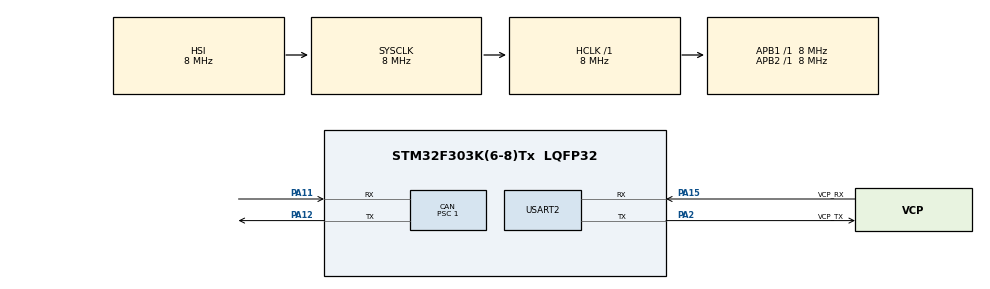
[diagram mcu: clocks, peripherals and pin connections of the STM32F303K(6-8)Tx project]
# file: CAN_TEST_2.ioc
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CAN.BS1=CAN_BS1_6TQ
CAN.CalculateBaudRate=1000000
CAN.CalculateTimeBit=1000
CAN.CalculateTimeQuantum=125.0
CAN.Prescaler=1
Mcu.Family=STM32F3
Mcu.Name=STM32F303K(6-8)Tx
Mcu.Package=LQFP32
NVIC.CAN_RX0_IRQn=true\:0\:0\:false\:false\:true\:true\:true\:true
NVIC.PriorityGroup=NVIC_PRIORITYGROUP_4
PA11.Mode=CAN_Activate
PA11.Signal=CAN_RX
PA12.Mode=CAN_Activate
PA12.Signal=CAN_TX
PA13.GPIO_Label=SWDIO
PA13.Mode=Serial_Wire
PA13.Signal=SYS_JTMS-SWDIO
PA14.GPIO_Label=SWCLK
PA14.Mode=Serial_Wire
PA14.Signal=SYS_JTCK-SWCLK
PA15.GPIO_Label=VCP_RX
PA15.Mode=Asynchronous
PA15.Signal=USART2_RX
PA2.GPIO_Label=VCP_TX
PA2.Mode=Asynchronous
PA2.Signal=USART2_TX
PF0\ /\ OSC_IN.GPIO_Label=MCO
PF0\ /\ OSC_IN.Mode=HSE-External-Clock-Source
PF0\ /\ OSC_IN.Signal=RCC_OSC_IN
ProjectManager.HeapSize=0x200
ProjectManager.StackSize=0x400
ProjectManager.TargetToolchain=STM32CubeIDE
RCC.AHBFreq_Value=8000000
RCC.APB1Freq_Value=8000000
RCC.APB2Freq_Value=8000000
RCC.CortexFreq_Value=8000000
RCC.HSE_VALUE=8000000
RCC.HSI_VALUE=8000000
RCC.SYSCLKFreq_VALUE=8000000
USART2.VirtualMode-Asynchronous=VM_ASYNC
board=NUCLEO-F303K8

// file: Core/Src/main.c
#include "main.h"
#include <stdio.h>

CAN_HandleTypeDef hcan;

UART_HandleTypeDef huart2;

void SystemClock_Config(void);
static void MX_GPIO_Init(void);
static void MX_USART2_UART_Init(void);
static void MX_CAN_Init(void);

/* USER CODE BEGIN 0 */
uint8_t use_data[8];
uint32_t id;
int i = 0;
void CAN_TX(uint32_t recipient) {
    //送信用インスタンス等
	CAN_TxHeaderTypeDef TxHeader;
	uint32_t TxMailbox;
	uint8_t TxData[8];
    //送信メールボックスに空きがあったら送信開始
	if (0 < HAL_CAN_GetTxMailboxesFreeLevel(&hcan)) {
        //送信用インスタンスの設定
		TxHeader.StdId = recipient;// 受取手のCANのID
		TxHeader.RTR = CAN_RTR_DATA;
		TxHeader.IDE = CAN_ID_STD;
		TxHeader.DLC = 8;//データ長を8byteに設定
		TxHeader.TransmitGlobalTime = DISABLE;
        //各データ
		TxData[0] = 0;
		TxData[1] = 1;
		TxData[2] = 2;
		TxData[3] = 3;
		TxData[4] = 4;
		TxData[5] = 5;
		TxData[6] = 6;
		if(i == 10){
			i=0;
		}
		TxData[7] = i;
        //CANメッセージを送信
		if (HAL_CAN_AddTxMessage(&hcan, &TxHeader, TxData, &TxMailbox) != HAL_OK) {
			Error_Handler();
		}
		i++;
	}
}

void HAL_CAN_RxFifo0MsgPendingCallback(CAN_HandleTypeDef *hcan) {
	CAN_RxHeaderTypeDef RxHeader;//受信メッセージの情報が格納されるインスタンス
	uint8_t RxData[8];//受信したデータを一時保存する配列
	if (HAL_CAN_GetRxMessage(hcan, CAN_RX_FIFO0, &RxHeader, RxData)== HAL_OK) {
		id = RxHeader.StdId; // RxHeaderの中に入っているidを取り出す
		if (id == 0x001){
			for (int i = 0; i <= 7; i++){
    				use_data[i] = RxData[i];
			}
		}
	}
}

int _write(int file, char *ptr, int len)
{
  HAL_UART_Transmit(&huart2,(uint8_t *)ptr,len,10);
  return len;
}

/* USER CODE END 0 */

int main(void)
{

  /* USER CODE BEGIN 1 */
	setbuf(stdout, NULL);

  /* USER CODE END 1 */

  /* MCU Configuration--------------------------------------------------------*/

  /* Reset of all peripherals, Initializes the Flash interface and the Systick. */
  HAL_Init();

  /* Configure the system clock */
  SystemClock_Config();

  /* Initialize all configured peripherals */
  MX_GPIO_Init();
  MX_USART2_UART_Init();
  MX_CAN_Init();
	/* USER CODE BEGIN 2 */

	// CANスタート
	HAL_CAN_Start(&hcan);
	// 割り込み有効
	HAL_CAN_ActivateNotification(&hcan, CAN_IT_RX_FIFO0_MSG_PENDING);
	/* USER CODE END 2 */

  /* Infinite loop */
  while (1)
  {
	  CAN_TX(0x001);
      printf("Receiver\r\n");
      printf("%d\r\n", use_data[0]);
      printf("%d\r\n", use_data[1]);
      printf("%d\r\n", use_data[2]);
      printf("%d\r\n", use_data[3]);
      printf("%d\r\n", use_data[4]);
      printf("%d\r\n", use_data[5]);
      printf("%d\r\n", use_data[6]);
      printf("%d\r\n", use_data[7]);
      HAL_Delay(100);

  }
}

void SystemClock_Config(void)
{
  RCC_OscInitTypeDef RCC_OscInitStruct = {0};
  RCC_ClkInitTypeDef RCC_ClkInitStruct = {0};

  /** Initializes the RCC Oscillators according to the specified parameters
  * in the RCC_OscInitTypeDef structure.
  */
  RCC_OscInitStruct.OscillatorType = RCC_OSCILLATORTYPE_HSI;
  RCC_OscInitStruct.HSIState = RCC_HSI_ON;
  RCC_OscInitStruct.HSICalibrationValue = RCC_HSICALIBRATION_DEFAULT;
  RCC_OscInitStruct.PLL.PLLState = RCC_PLL_NONE;
  if (HAL_RCC_OscConfig(&RCC_OscInitStruct) != HAL_OK)
  {
    Error_Handler();
  }

  /** Initializes the CPU, AHB and APB buses clocks
  */
  RCC_ClkInitStruct.ClockType = RCC_CLOCKTYPE_HCLK|RCC_CLOCKTYPE_SYSCLK
                              |RCC_CLOCKTYPE_PCLK1|RCC_CLOCKTYPE_PCLK2;
  RCC_ClkInitStruct.SYSCLKSource = RCC_SYSCLKSOURCE_HSI;
  RCC_ClkInitStruct.AHBCLKDivider = RCC_SYSCLK_DIV1;
  RCC_ClkInitStruct.APB1CLKDivider = RCC_HCLK_DIV1;
  RCC_ClkInitStruct.APB2CLKDivider = RCC_HCLK_DIV1;

  if (HAL_RCC_ClockConfig(&RCC_ClkInitStruct, FLASH_LATENCY_0) != HAL_OK)
  {
    Error_Handler();
  }
}

static void MX_CAN_Init(void)
{

  hcan.Instance = CAN;
  hcan.Init.Prescaler = 1;
  hcan.Init.Mode = CAN_MODE_NORMAL;
  hcan.Init.SyncJumpWidth = CAN_SJW_1TQ;
  hcan.Init.TimeSeg1 = CAN_BS1_6TQ;
  hcan.Init.TimeSeg2 = CAN_BS2_1TQ;
  hcan.Init.TimeTriggeredMode = DISABLE;
  hcan.Init.AutoBusOff = DISABLE;
  hcan.Init.AutoWakeUp = DISABLE;
  hcan.Init.AutoRetransmission = DISABLE;
  hcan.Init.ReceiveFifoLocked = DISABLE;
  hcan.Init.TransmitFifoPriority = DISABLE;
  if (HAL_CAN_Init(&hcan) != HAL_OK)
  {
    Error_Handler();
  }
  /* USER CODE BEGIN CAN_Init 2 */
  CAN_FilterTypeDef filter;
  filter.FilterIdHigh         = 0x001 << 5;                  // フィルターID1
  filter.FilterIdLow          = 0x002 << 5;                  // フィルターID2
  filter.FilterMaskIdHigh     = 0x003 << 5;                  // フィルターID3
  filter.FilterMaskIdLow      = 0x004 << 5;    // フィルターID4
  filter.FilterScale          = CAN_FILTERSCALE_16BIT; // 16モード
  filter.FilterFIFOAssignment = CAN_FILTER_FIFO0;      // FIFO0へ格納
  filter.FilterBank           = 0;
  filter.FilterMode           = CAN_FILTERMODE_IDLIST; // IDリストモード
  filter.SlaveStartFilterBank = 14;
  filter.FilterActivation     = ENABLE;

  HAL_CAN_ConfigFilter(&hcan, &filter);

  /* USER CODE END CAN_Init 2 */

}

static void MX_USART2_UART_Init(void)
{

  huart2.Instance = USART2;
  huart2.Init.BaudRate = 9600;
  huart2.Init.WordLength = UART_WORDLENGTH_8B;
  huart2.Init.StopBits = UART_STOPBITS_1;
  huart2.Init.Parity = UART_PARITY_NONE;
  huart2.Init.Mode = UART_MODE_TX_RX;
  huart2.Init.HwFlowCtl = UART_HWCONTROL_NONE;
  huart2.Init.OverSampling = UART_OVERSAMPLING_16;
  huart2.Init.OneBitSampling = UART_ONE_BIT_SAMPLE_DISABLE;
  huart2.AdvancedInit.AdvFeatureInit = UART_ADVFEATURE_NO_INIT;
  if (HAL_UART_Init(&huart2) != HAL_OK)
  {
    Error_Handler();
  }

}

static void MX_GPIO_Init(void)
{

  /* GPIO Ports Clock Enable */
  __HAL_RCC_GPIOF_CLK_ENABLE();
  __HAL_RCC_GPIOA_CLK_ENABLE();

}

void Error_Handler(void)
{
  __disable_irq();
  while (1)
  {
  }
}
